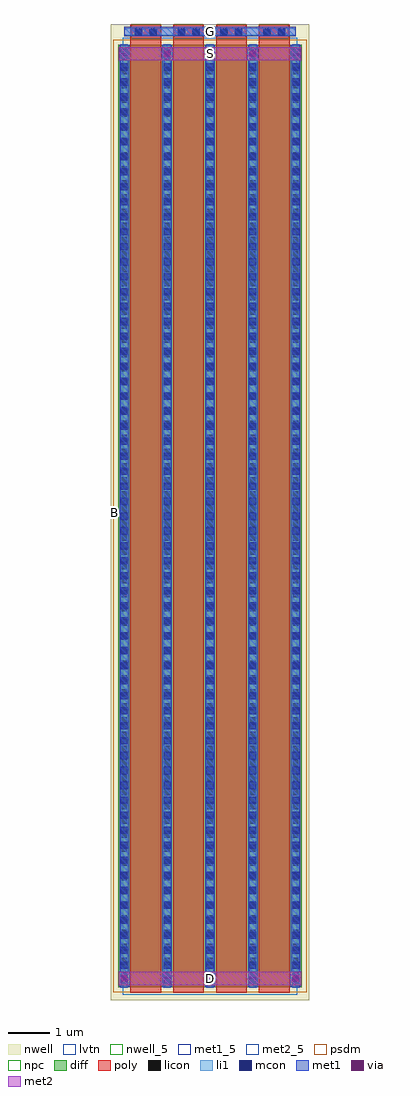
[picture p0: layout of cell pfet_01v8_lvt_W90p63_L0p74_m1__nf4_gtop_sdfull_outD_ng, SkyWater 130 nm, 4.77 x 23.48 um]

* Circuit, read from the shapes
.subckt pfet_01v8_lvt_W90p63_L0p74_m1__nf4_gtop_sdfull_outD_ng B D G S
XM1 S G D B sky130_fd_pr__pfet_01v8_lvt w=22.66 l=0.74 m=4
.ends

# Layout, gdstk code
import gdstk
lib = gdstk.Library(unit=1e-6, precision=1e-09)
def R(c, l, rs):  # rectangles x0, y0, x1, y1
    for r in rs: c.add(gdstk.rectangle(r[:2], r[2:], *l))
def A(c, l, x, y, w, h, nx, ny, dx, dy):  # array of equal rectangles
    R(c, l, [(x+i*dx, y+j*dy, x+i*dx+w, y+j*dy+h) for i in range(nx) for j in range(ny)])
nwell_5 = (64, 5)
nwell = (64, 20)
diff = (65, 20)
poly = (66, 20)
licon = (66, 44)
li1 = (67, 20)
mcon = (67, 44)
met1_5 = (68, 5)
met1 = (68, 20)
via = (68, 44)
met2_5 = (69, 5)
met2 = (69, 20)
psdm = (94, 20)
npc = (95, 20)
lvtn = (125, 44)

sky130_fd_pr__pfet_01v8_ = lib.new_cell('sky130_fd_pr__pfet_01v8_lvt_3KREKW')
R(sky130_fd_pr__pfet_01v8_, nwell, [(-2.385,-11.82,2.385,11.65)])
R(sky130_fd_pr__pfet_01v8_, diff, [(-2.205,-11.51,2.205,11.15)])
A(sky130_fd_pr__pfet_01v8_, poly, -1.915, -11.64, 0.74, 23.275, 4, 1, 1.03, 0)
A(sky130_fd_pr__pfet_01v8_, licon, -2.145, -11.315, 0.17, 0.17, 5, 66, 1.03, 0.34)
R(sky130_fd_pr__pfet_01v8_, licon, [(-1.8,11.385,-1.63,11.555), (-1.46,11.385,-1.29,11.555), (-0.77,11.385,-0.6,11.555), (-0.43,11.385,-0.26,11.555), (0.26,11.385,0.43,11.555), (0.6,11.385,0.77,11.555), (1.29,11.385,1.46,11.555), (1.63,11.385,1.8,11.555)])
A(sky130_fd_pr__pfet_01v8_, li1, -2.145, -11.53, 0.17, 22.7, 5, 1, 1.03, 0)
R(sky130_fd_pr__pfet_01v8_, li1, [(-2.06,11.385,2.06,11.555)])
A(sky130_fd_pr__pfet_01v8_, mcon, -2.145, -11.425, 0.17, 0.17, 5, 63, 1.03, 0.36)
R(sky130_fd_pr__pfet_01v8_, mcon, [(-1.81,11.385,-1.64,11.555), (-1.45,11.385,-1.28,11.555), (-0.78,11.385,-0.61,11.555), (-0.42,11.385,-0.25,11.555), (0.25,11.385,0.42,11.555), (0.61,11.385,0.78,11.555), (1.28,11.385,1.45,11.555), (1.64,11.385,1.81,11.555)])
A(sky130_fd_pr__pfet_01v8_, met1, -2.175, -11.51, 0.23, 22.66, 5, 1, 1.03, 0)
A(sky130_fd_pr__pfet_01v8_, met1, -1.895, 11.355, 0.7, 0.03, 4, 2, 1.03, 0.2)
R(sky130_fd_pr__pfet_01v8_, met1, [(-2.06,11.385,2.06,11.555)])
R(sky130_fd_pr__pfet_01v8_, psdm, [(-2.33,-11.635,2.33,11.275)])
A(sky130_fd_pr__pfet_01v8_, npc, -1.9, 11.285, 0.71, 0.37, 4, 1, 1.03, 0)
R(sky130_fd_pr__pfet_01v8_, lvtn, [(-2.095,-11.69,2.095,11.33)])
sky130_fd_pr__pfet_01v8_.add(gdstk.Label('D0', (-2.06,-0.18), layer=67, texttype=5))
sky130_fd_pr__pfet_01v8_.add(gdstk.Label('G', (1.545,11.47), layer=67, texttype=5))
sky130_fd_pr__pfet_01v8_.add(gdstk.Label('G', (0.515,11.47), layer=67, texttype=5))
sky130_fd_pr__pfet_01v8_.add(gdstk.Label('G', (-0.515,11.47), layer=67, texttype=5))
sky130_fd_pr__pfet_01v8_.add(gdstk.Label('G', (-1.545,11.47), layer=67, texttype=5))
sky130_fd_pr__pfet_01v8_.add(gdstk.Label('S1', (-1.03,-0.18), layer=67, texttype=5))
sky130_fd_pr__pfet_01v8_.add(gdstk.Label('D2', (0,-0.18), layer=67, texttype=5))
sky130_fd_pr__pfet_01v8_.add(gdstk.Label('S3', (1.03,-0.18), layer=67, texttype=5))

pfet_01v8_lvt_w90p63_l0p = lib.new_cell('pfet_01v8_lvt_W90p63_L0p74_m1__nf4_gtop_sdfull_outD_ng')
R(pfet_01v8_lvt_w90p63_l0p, nwell_5, [(0.05,11.685,0.15,11.785)])
R(pfet_01v8_lvt_w90p63_l0p, nwell, [(0.05,11.685,0.15,11.785)])
R(pfet_01v8_lvt_w90p63_l0p, met1_5, [(0.325,23.175,4.445,23.405)])
A(pfet_01v8_lvt_w90p63_l0p, met1, 0.195, 0.36, 0.26, 0.32, 3, 1, 2.06, 0)
R(pfet_01v8_lvt_w90p63_l0p, met1, [(1.225,22.6,1.485,22.92), (3.285,22.6,3.545,22.92), (0.325,23.175,4.445,23.405)])
A(pfet_01v8_lvt_w90p63_l0p, via, 0.25, 0.445, 0.15, 0.15, 3, 1, 2.06, 0)
R(pfet_01v8_lvt_w90p63_l0p, via, [(1.28,22.685,1.43,22.835), (3.34,22.685,3.49,22.835)])
R(pfet_01v8_lvt_w90p63_l0p, met2_5, [(0.19,0.36,4.58,0.68), (0.19,22.6,4.58,22.92)])
R(pfet_01v8_lvt_w90p63_l0p, met2, [(0.19,0.36,4.58,0.68), (0.19,22.6,4.58,22.92)])
pfet_01v8_lvt_w90p63_l0p.add(gdstk.Reference(sky130_fd_pr__pfet_01v8_, (2.385,11.82)))
pfet_01v8_lvt_w90p63_l0p.add(gdstk.Label('S', (2.385,22.76), layer=69, texttype=5))
pfet_01v8_lvt_w90p63_l0p.add(gdstk.Label('D', (2.385,0.52), layer=69, texttype=5))
pfet_01v8_lvt_w90p63_l0p.add(gdstk.Label('G', (2.385,23.29), layer=68, texttype=5))
pfet_01v8_lvt_w90p63_l0p.add(gdstk.Label('B', (0.1,11.735), layer=64, texttype=5))

lib.write_gds('pfet_01v8_lvt_W90p63_L0p74_m1__nf4_gtop_sdfull_outD_ng.gds')
